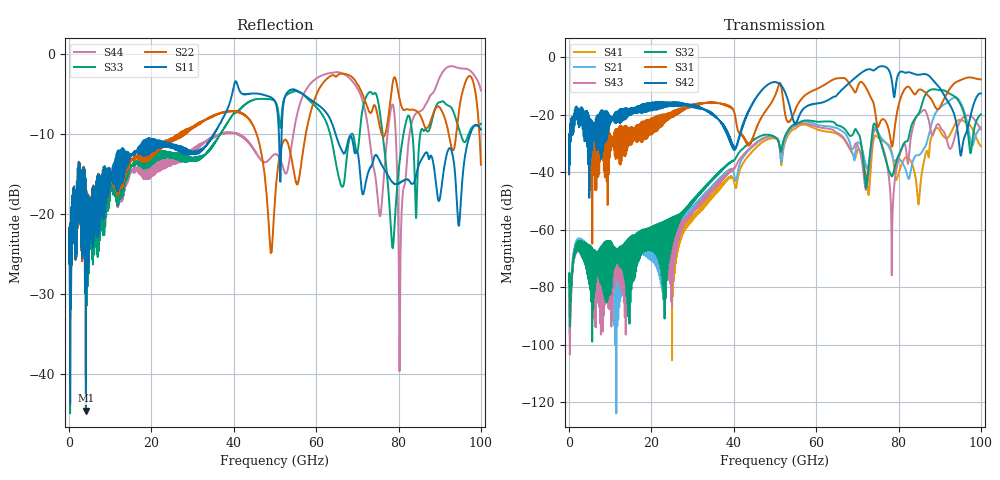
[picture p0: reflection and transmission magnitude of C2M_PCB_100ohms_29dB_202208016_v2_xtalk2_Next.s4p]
! Info: Touchstone file created by Circ.  Input file=Intel_C2M_200G_13p0in_202208016_staggered.circ
# Hz S RI R 50
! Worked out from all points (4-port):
!   10000 points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, 10 MHz to 100 GHz, reference 50 ohm
!   strongest paths, dB at 10 MHz, 25.01 GHz, 50.01 GHz, 75.01 GHz, 100 GHz:
!     S42: -40.5, -16.1, -8.6, -3.4, -12.6
!     S31: -40.7, -19.8, -13.4, -24.2, -7.7
!     S32: -77.9, -65.1, -27.7, -26.1, -19.8
!     S43: -82.3, -86.6, -27.8, -26.8, -25.0
!     S21: -78.7, -66.1, -27.9, -26.0, -24.2
!     S41: -81.2, -105.3, -28.1, -27.8, -30.9
!   lowest |S11| = -44.5 dB at 4.09 GHz (marker M1), VSWR 1.01, Z = 50.4 - j0.398 ohm
!   |S11| at or under -10 dB: start of sweep to 35.1 GHz; 50.96 GHz to 51.6 GHz (643.5 MHz wide, 1.25 % of centre); 64.74 GHz to 97.38 GHz (32.64 GHz wide, 40.3 % of centre)
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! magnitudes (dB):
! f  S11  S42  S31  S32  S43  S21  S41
! 10 MHz  -26.1  -40.5  -40.7  -77.9  -82.3  -78.7  -81.2
! 4.09 GHz  -44.5  -19.0  -21.1  -64.6  -67.3  -64.7  -66.8
! 56.39 GHz  -4.8  -18.8  -14.6  -22.3  -23.0  -22.4  -23.4
! 74.55 GHz  -12.6  -3.9  -21.4  -23.9  -25.5  -24.8  -27.2
! 78.41 GHz  -15.9  -8.3  -31.0  -41.3  -66.0  -34.0  -33.3
! 84.99 GHz  -13.7  -6.0  -11.2  -19.2  -19.6  -34.0  -49.8
! 100 GHz  -9.4  -12.6  -7.7  -19.8  -25.0  -24.2  -30.9
